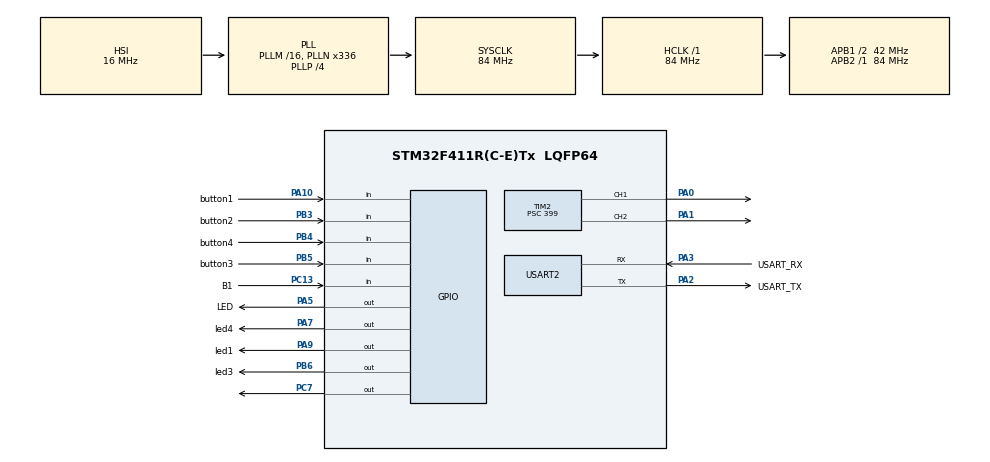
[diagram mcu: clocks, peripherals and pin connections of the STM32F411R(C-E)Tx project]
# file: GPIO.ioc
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Mcu.Family=STM32F4
Mcu.Name=STM32F411R(C-E)Tx
Mcu.Package=LQFP64
NVIC.PriorityGroup=NVIC_PRIORITYGROUP_0
PA0-WKUP.Signal=S_TIM2_CH1_ETR
PA1.Signal=S_TIM2_CH2
PA10.GPIO_Label=button1
PA10.Signal=GPIO_Input
PA13.GPIO_Label=TMS
PA13.Mode=Serial_Wire
PA13.Signal=SYS_JTMS-SWDIO
PA14.GPIO_Label=TCK
PA14.Mode=Serial_Wire
PA14.Signal=SYS_JTCK-SWCLK
PA2.GPIO_Label=USART_TX
PA2.Mode=Asynchronous
PA2.Signal=USART2_TX
PA3.GPIO_Label=USART_RX
PA3.Mode=Asynchronous
PA3.Signal=USART2_RX
PA5.GPIO_Label=LED
PA5.Signal=GPIO_Output
PA7.GPIO_Label=led4
PA7.Signal=GPIO_Output
PA9.GPIO_Label=led1
PA9.Signal=GPIO_Output
PB3.GPIO_Label=button2
PB3.Signal=GPIO_Input
PB4.GPIO_Label=button4
PB4.Signal=GPIO_Input
PB5.GPIO_Label=button3
PB5.Signal=GPIO_Input
PB6.GPIO_Label=led3
PB6.Signal=GPIO_Output
PC13-ANTI_TAMP.GPIO_Label=B1
PC13-ANTI_TAMP.Signal=GPIO_Input
PC14-OSC32_IN.Mode=LSE-External-Oscillator
PC14-OSC32_IN.Signal=RCC_OSC32_IN
PC15-OSC32_OUT.Mode=LSE-External-Oscillator
PC15-OSC32_OUT.Signal=RCC_OSC32_OUT
PC7.Signal=GPIO_Output
PH0\ -\ OSC_IN.Mode=HSE-External-Clock-Source
PH0\ -\ OSC_IN.Signal=RCC_OSC_IN
PH1\ -\ OSC_OUT.Mode=HSE-External-Clock-Source
PH1\ -\ OSC_OUT.Signal=RCC_OSC_OUT
ProjectManager.HeapSize=0x200
ProjectManager.StackSize=0x400
ProjectManager.TargetToolchain=STM32CubeIDE
RCC.48MHZClocksFreq_Value=84000000
RCC.AHBFreq_Value=84000000
RCC.APB1CLKDivider=RCC_HCLK_DIV2
RCC.APB1Freq_Value=42000000
RCC.APB1TimFreq_Value=84000000
RCC.APB2Freq_Value=84000000
RCC.APB2TimFreq_Value=84000000
RCC.CortexFreq_Value=84000000
RCC.FLatency-AdvancedSettings=FLASH_LATENCY_2
RCC.HCLKFreq_Value=84000000
RCC.HSE_VALUE=8000000
RCC.HSI_VALUE=16000000
RCC.PLLN=336
RCC.PLLP=RCC_PLLP_DIV4
RCC.SYSCLKFreq_VALUE=84000000
RCC.SYSCLKSource=RCC_SYSCLKSOURCE_PLLCLK
RCC.VCOOutputFreq_Value=336000000
SH.S_TIM2_CH1_ETR.0=TIM2_CH1,PWM Generation1 CH1
SH.S_TIM2_CH2.0=TIM2_CH2,PWM Generation2 CH2
TIM2.Channel-PWM\ Generation1\ CH1=TIM_CHANNEL_1
TIM2.Channel-PWM\ Generation2\ CH2=TIM_CHANNEL_2
TIM2.CounterMode=TIM_COUNTERMODE_CENTERALIGNED1
TIM2.OCPolarity_2=TIM_OCPOLARITY_LOW
TIM2.Period=99
TIM2.Prescaler=399
USART2.VirtualMode=VM_ASYNC
board=NUCLEO-F411RE

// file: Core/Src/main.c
/* USER CODE BEGIN Header */
/**
  ******************************************************************************
  * @file           : main.c
  * @brief          : Main program body
  ******************************************************************************
  * @attention
  *
  * Copyright (c) 2022 STMicroelectronics.
  * All rights reserved.
  *
  * This software is licensed under terms that can be found in the LICENSE file
  * in the root directory of this software component.
  * If no LICENSE file comes with this software, it is provided AS-IS.
  *
  ******************************************************************************
  */
/* USER CODE END Header */
#include "main.h"
#include "stdio.h"

TIM_HandleTypeDef htim2;

UART_HandleTypeDef huart2;

void SystemClock_Config(void);
static void MX_GPIO_Init(void);
static void MX_USART2_UART_Init(void);
static void MX_TIM2_Init(void);
/* USER CODE BEGIN PFP */

void led(int, int);

/* USER CODE END PFP */

int main(void)
{

  /* MCU Configuration--------------------------------------------------------*/

  /* Reset of all peripherals, Initializes the Flash interface and the Systick. */
  HAL_Init();

  /* Configure the system clock */
  SystemClock_Config();

  /* Initialize all configured peripherals */
  MX_GPIO_Init();
  MX_USART2_UART_Init();
  MX_TIM2_Init();
  /* USER CODE BEGIN 2 */
  HAL_TIM_PWM_Start(&htim2, TIM_CHANNEL_1);		//start TIM2_CH1
  HAL_TIM_PWM_Start(&htim2, TIM_CHANNEL_2);		//start TIM2_CH2
  /* USER CODE END 2 */

  /* Infinite loop */
  /* USER CODE BEGIN WHILE */
  while (1)
  {
//	  static GPIO_PinState B1State[2] = {0};
//	  static uint32_t Timedelay = 500; //ms
//
//	  B1State[0] = HAL_GPIO_ReadPin(GPIOC, GPIO_PIN_13);
//
//	  if (B1State[1] == GPIO_PIN_SET && B1State[0] == GPIO_PIN_RESET){
//		  if (Timedelay == 500){
//			  Timedelay = 2500;
//		  }
//		  else{
//			  Timedelay = 500;
//		  }
//	  }
//	  B1State[1] = B1State[0];
//
//	  static uint32_t Timestamp = 0;
//	  if (HAL_GetTick() - Timestamp >= Timedelay){
//		  Timestamp = HAL_GetTick();
//		  HAL_GPIO_TogglePin(GPIOA, GPIO_PIN_5);
//	  }
// in class code

	  static GPIO_PinState B1State[2] = {0};
	  static GPIO_PinState B2State[2] = {0};
	  static GPIO_PinState B3State[2] = {0};
	  static GPIO_PinState B4State[2] = {0};

	  static uint32_t Timedelay = 500;
	  static uint8_t Blink = 0;
	  static uint8_t mode = 1;
	  static uint16_t brightness = 0;

//	  pwm1 = 40;
//	  pwm2 = 60;

//	  static uint32_t refTime[2] = {0};
//
//	  B1State[0] = HAL_GPIO_ReadPin(GPIOA, GPIO_PIN_10);
//	  if (B1State[1] == GPIO_PIN_RESET && B1State[0] == GPIO_PIN_SET){
//		  if (Timedelay == 500){
//			  Timedelay = 1000;
//		  }
//		  else if(Timedelay == 1000){
//			  Timedelay = 1500;
//		  }
//		  else if(Timedelay == 1500){
//			  Timedelay = 2000;
//		  }
//		  else if(Timedelay == 2000){
//			  Timedelay = 3000;
//		  }
//		  else{
//			  Timedelay = 500;
//		  }
//	  }
//	  B1State[1] = B1State[0];
//
//	  static uint32_t Timestamp = 0;
//	  if (HAL_GetTick() - Timestamp >= Timedelay){
//		  Timestamp = HAL_GetTick();
//		  HAL_GPIO_TogglePin(GPIOA, GPIO_PIN_9);
//	  }
//
//	  B2State[0] = HAL_GPIO_ReadPin(GPIOB, GPIO_PIN_3);
//	  if (B2State[0] == GPIO_PIN_RESET && B2State[1] == GPIO_PIN_SET){
//		  if(Blink == 0){
//			  Blink = 1;
//		  }
//		  else{
//			  Blink = 0;
//		  }
//	  }
//	  B2State[1] = B2State[0];
//
//	  if(Blink == 0){
//		  led(2,1);
//	  }
//	  else{
//		  static uint32_t Timestamp2 = 0;
//		  if (HAL_GetTick() - Timestamp2 >= 500){
//			  HAL_GPIO_TogglePin(GPIOC, GPIO_PIN_7);
//			  Timestamp2 = HAL_GetTick();
//		  }
//	  }
//
//	  B3State[0] = HAL_GPIO_ReadPin(GPIOB, GPIO_PIN_5);
//	  if (B3State[1] == GPIO_PIN_RESET && B3State[0] == GPIO_PIN_SET){
//		  if (mode == 1){
//			  mode = 0;
//		  }
//		  else{
//			  mode = 1;
//		  }
//	  }
//	  B3State[1] = B3State[0];
//
//
//	  if (mode == 0){
//		  static uint32_t Timestamp3 = 0;
//		  if(HAL_GetTick() - Timestamp3 >= 2000){
//			  Timestamp3 = HAL_GetTick();
//		  }
//		  else if(HAL_GetTick() - Timestamp3 >= 500){
//			  led(3, 0);
//		  }
//		  else{
//			  led(3, 1);
//		  }
//	  }
//	  else{
//		  static uint32_t Timestamp4 = 0;
//		  if(HAL_GetTick() - Timestamp4 >= 2000){
//			  Timestamp4 = HAL_GetTick();
//		  }
//		  else if(HAL_GetTick() - Timestamp4 >= 1500){
//			  led(3, 0);
//		  }
//		  else{
//			  led(3, 1);
//		  }
//	  }
//
	  B4State[0] = HAL_GPIO_ReadPin(GPIOB, GPIO_PIN_4);
	  if (B4State[0] == GPIO_PIN_RESET && B4State[1] == GPIO_PIN_SET){
		  if(brightness == 0){
			  brightness = 25;
		  }
		  else if(brightness == 25){
			  brightness = 50;
		  }
		  else if(brightness == 50){
			  brightness = 75;
		  }
		  else if(brightness == 75){
			  brightness = 100;
		  }
		  else{
			  brightness = 0;
		  }
	  }
	  B4State[1] = B4State[0];

	  uint16_t pwm1 = 100 - brightness;
	  uint16_t pwm2 = brightness;

	  HAL_GPIO_WritePin(GPIOA, GPIO_PIN_1, __HAL_TIM_SET_COMPARE(&htim2, TIM_CHANNEL_1, pwm1));	// compare counter with pwm1
	  HAL_GPIO_WritePin(GPIOA, GPIO_PIN_1, __HAL_TIM_SET_COMPARE(&htim2, TIM_CHANNEL_2, pwm2));	// compare counter with pwm2

    /* USER CODE END WHILE */

  }
}

void SystemClock_Config(void)
{
  RCC_OscInitTypeDef RCC_OscInitStruct = {0};
  RCC_ClkInitTypeDef RCC_ClkInitStruct = {0};

  /** Configure the main internal regulator output voltage
  */
  __HAL_RCC_PWR_CLK_ENABLE();
  __HAL_PWR_VOLTAGESCALING_CONFIG(PWR_REGULATOR_VOLTAGE_SCALE1);
  /** Initializes the RCC Oscillators according to the specified parameters
  * in the RCC_OscInitTypeDef structure.
  */
  RCC_OscInitStruct.OscillatorType = RCC_OSCILLATORTYPE_HSI;
  RCC_OscInitStruct.HSIState = RCC_HSI_ON;
  RCC_OscInitStruct.HSICalibrationValue = RCC_HSICALIBRATION_DEFAULT;
  RCC_OscInitStruct.PLL.PLLState = RCC_PLL_ON;
  RCC_OscInitStruct.PLL.PLLSource = RCC_PLLSOURCE_HSI;
  RCC_OscInitStruct.PLL.PLLM = 16;
  RCC_OscInitStruct.PLL.PLLN = 336;
  RCC_OscInitStruct.PLL.PLLP = RCC_PLLP_DIV4;
  RCC_OscInitStruct.PLL.PLLQ = 4;
  if (HAL_RCC_OscConfig(&RCC_OscInitStruct) != HAL_OK)
  {
    Error_Handler();
  }
  /** Initializes the CPU, AHB and APB buses clocks
  */
  RCC_ClkInitStruct.ClockType = RCC_CLOCKTYPE_HCLK|RCC_CLOCKTYPE_SYSCLK
                              |RCC_CLOCKTYPE_PCLK1|RCC_CLOCKTYPE_PCLK2;
  RCC_ClkInitStruct.SYSCLKSource = RCC_SYSCLKSOURCE_PLLCLK;
  RCC_ClkInitStruct.AHBCLKDivider = RCC_SYSCLK_DIV1;
  RCC_ClkInitStruct.APB1CLKDivider = RCC_HCLK_DIV2;
  RCC_ClkInitStruct.APB2CLKDivider = RCC_HCLK_DIV1;

  if (HAL_RCC_ClockConfig(&RCC_ClkInitStruct, FLASH_LATENCY_2) != HAL_OK)
  {
    Error_Handler();
  }
}

static void MX_TIM2_Init(void)
{

  TIM_MasterConfigTypeDef sMasterConfig = {0};
  TIM_OC_InitTypeDef sConfigOC = {0};

  htim2.Instance = TIM2;
  htim2.Init.Prescaler = 399;
  htim2.Init.CounterMode = TIM_COUNTERMODE_CENTERALIGNED1;
  htim2.Init.Period = 99;
  htim2.Init.ClockDivision = TIM_CLOCKDIVISION_DIV1;
  htim2.Init.AutoReloadPreload = TIM_AUTORELOAD_PRELOAD_DISABLE;
  if (HAL_TIM_PWM_Init(&htim2) != HAL_OK)
  {
    Error_Handler();
  }
  sMasterConfig.MasterOutputTrigger = TIM_TRGO_RESET;
  sMasterConfig.MasterSlaveMode = TIM_MASTERSLAVEMODE_DISABLE;
  if (HAL_TIMEx_MasterConfigSynchronization(&htim2, &sMasterConfig) != HAL_OK)
  {
    Error_Handler();
  }
  sConfigOC.OCMode = TIM_OCMODE_PWM1;
  sConfigOC.Pulse = 0;
  sConfigOC.OCPolarity = TIM_OCPOLARITY_HIGH;
  sConfigOC.OCFastMode = TIM_OCFAST_DISABLE;
  if (HAL_TIM_PWM_ConfigChannel(&htim2, &sConfigOC, TIM_CHANNEL_1) != HAL_OK)
  {
    Error_Handler();
  }
  sConfigOC.OCPolarity = TIM_OCPOLARITY_LOW;
  if (HAL_TIM_PWM_ConfigChannel(&htim2, &sConfigOC, TIM_CHANNEL_2) != HAL_OK)
  {
    Error_Handler();
  }
  HAL_TIM_MspPostInit(&htim2);

}

static void MX_USART2_UART_Init(void)
{

  huart2.Instance = USART2;
  huart2.Init.BaudRate = 115200;
  huart2.Init.WordLength = UART_WORDLENGTH_8B;
  huart2.Init.StopBits = UART_STOPBITS_1;
  huart2.Init.Parity = UART_PARITY_NONE;
  huart2.Init.Mode = UART_MODE_TX_RX;
  huart2.Init.HwFlowCtl = UART_HWCONTROL_NONE;
  huart2.Init.OverSampling = UART_OVERSAMPLING_16;
  if (HAL_UART_Init(&huart2) != HAL_OK)
  {
    Error_Handler();
  }

}

static void MX_GPIO_Init(void)
{
  GPIO_InitTypeDef GPIO_InitStruct = {0};

  /* GPIO Ports Clock Enable */
  __HAL_RCC_GPIOC_CLK_ENABLE();
  __HAL_RCC_GPIOH_CLK_ENABLE();
  __HAL_RCC_GPIOA_CLK_ENABLE();
  __HAL_RCC_GPIOB_CLK_ENABLE();

  /*Configure GPIO pin Output Level */
  HAL_GPIO_WritePin(GPIOA, LED_Pin|led4_Pin|led1_Pin, GPIO_PIN_RESET);

  /*Configure GPIO pin Output Level */
  HAL_GPIO_WritePin(GPIOC, GPIO_PIN_7, GPIO_PIN_RESET);

  /*Configure GPIO pin Output Level */
  HAL_GPIO_WritePin(led3_GPIO_Port, led3_Pin, GPIO_PIN_RESET);

  /*Configure GPIO pin : B1_Pin */
  GPIO_InitStruct.Pin = B1_Pin;
  GPIO_InitStruct.Mode = GPIO_MODE_INPUT;
  GPIO_InitStruct.Pull = GPIO_NOPULL;
  HAL_GPIO_Init(B1_GPIO_Port, &GPIO_InitStruct);

  /*Configure GPIO pins : LED_Pin led4_Pin led1_Pin */
  GPIO_InitStruct.Pin = LED_Pin|led4_Pin|led1_Pin;
  GPIO_InitStruct.Mode = GPIO_MODE_OUTPUT_PP;
  GPIO_InitStruct.Pull = GPIO_NOPULL;
  GPIO_InitStruct.Speed = GPIO_SPEED_FREQ_LOW;
  HAL_GPIO_Init(GPIOA, &GPIO_InitStruct);

  /*Configure GPIO pin : PC7 */
  GPIO_InitStruct.Pin = GPIO_PIN_7;
  GPIO_InitStruct.Mode = GPIO_MODE_OUTPUT_PP;
  GPIO_InitStruct.Pull = GPIO_NOPULL;
  GPIO_InitStruct.Speed = GPIO_SPEED_FREQ_LOW;
  HAL_GPIO_Init(GPIOC, &GPIO_InitStruct);

  /*Configure GPIO pin : button1_Pin */
  GPIO_InitStruct.Pin = button1_Pin;
  GPIO_InitStruct.Mode = GPIO_MODE_INPUT;
  GPIO_InitStruct.Pull = GPIO_NOPULL;
  HAL_GPIO_Init(button1_GPIO_Port, &GPIO_InitStruct);

  /*Configure GPIO pins : button2_Pin button4_Pin button3_Pin */
  GPIO_InitStruct.Pin = button2_Pin|button4_Pin|button3_Pin;
  GPIO_InitStruct.Mode = GPIO_MODE_INPUT;
  GPIO_InitStruct.Pull = GPIO_NOPULL;
  HAL_GPIO_Init(GPIOB, &GPIO_InitStruct);

  /*Configure GPIO pin : led3_Pin */
  GPIO_InitStruct.Pin = led3_Pin;
  GPIO_InitStruct.Mode = GPIO_MODE_OUTPUT_PP;
  GPIO_InitStruct.Pull = GPIO_NOPULL;
  GPIO_InitStruct.Speed = GPIO_SPEED_FREQ_LOW;
  HAL_GPIO_Init(led3_GPIO_Port, &GPIO_InitStruct);

}

/* USER CODE BEGIN 4 */
void led(int num, int status){
	if(num == 1){
		if(status == 0){
			HAL_GPIO_WritePin(GPIOA, GPIO_PIN_9, GPIO_PIN_SET);
		}
		else{
			HAL_GPIO_WritePin(GPIOA, GPIO_PIN_9, GPIO_PIN_RESET);
		}
	}
	else if(num == 2){
		if(status == 0){
			HAL_GPIO_WritePin(GPIOC, GPIO_PIN_7, GPIO_PIN_SET);
		}
		else{
			HAL_GPIO_WritePin(GPIOC, GPIO_PIN_7, GPIO_PIN_RESET);
		}
	}
	else if(num == 3){
		if(status == 0){
			HAL_GPIO_WritePin(GPIOB, GPIO_PIN_6, GPIO_PIN_SET);
		}
		else{
			HAL_GPIO_WritePin(GPIOB, GPIO_PIN_6, GPIO_PIN_RESET);
		}
	}
	else{
		if(status == 0){
			HAL_GPIO_WritePin(GPIOA, GPIO_PIN_7, GPIO_PIN_SET);
		}
		else{
			HAL_GPIO_WritePin(GPIOA, GPIO_PIN_7, GPIO_PIN_RESET);
		}
	}
}
/* USER CODE END 4 */

void Error_Handler(void)
{
  __disable_irq();
  while (1)
  {
  }
}
